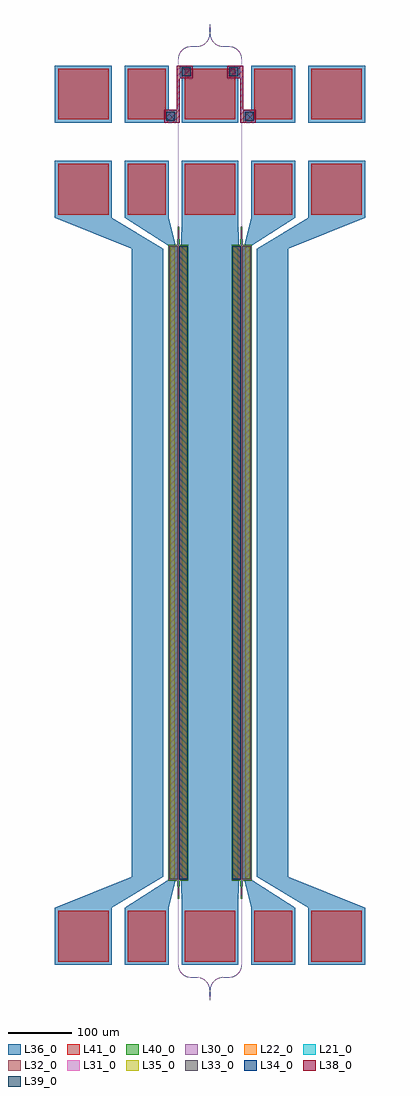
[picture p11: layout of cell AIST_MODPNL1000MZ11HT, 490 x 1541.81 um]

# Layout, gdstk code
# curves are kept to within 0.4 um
import gdstk
lib = gdstk.Library(unit=1e-6, precision=1e-09)
def R(c, l, rs):  # rectangles x0, y0, x1, y1
    for r in rs: c.add(gdstk.rectangle(r[:2], r[2:], *l))
def A(c, l, x, y, w, h, nx, ny, dx, dy):  # array of equal rectangles
    R(c, l, [(x+i*dx, y+j*dy, x+i*dx+w, y+j*dy+h) for i in range(nx) for j in range(ny)])
def P(c, l, *ps):  # polygons
    for p in ps: c.add(gdstk.Polygon(p, *l))
L21_0 = (21, 0)
L22_0 = (22, 0)
L30_0 = (30, 0)
L31_0 = (31, 0)
L32_0 = (32, 0)
L33_0 = (33, 0)
L34_0 = (34, 0)
L35_0 = (35, 0)
L36_0 = (36, 0)
L38_0 = (38, 0)
L39_0 = (39, 0)
L40_0 = (40, 0)
L41_0 = (41, 0)

aist_modpnl1000mz11ht = lib.new_cell('AIST_MODPNL1000MZ11HT')
R(aist_modpnl1000mz11ht, L21_0, [(-64.5,229.15,-49.85,1229.65), (49.85,229.15,64.5,1229.65)])
R(aist_modpnl1000mz11ht, L22_0, [(-50.15,228.9,-35.5,1229.9), (35.5,228.9,50.15,1229.9)])
R(aist_modpnl1000mz11ht, L30_0, [(-30,74.18,-20.55,74.62), (20.55,74.18,30,74.62), (-30,1544.58,-20.55,1545.02), (20.55,1544.58,30,1545.02)])
P(aist_modpnl1000mz11ht, L30_0, [(-50.22,94.4),(-50.22,198.4),(-51,228.4),(-65,228.4),(-65,1230.4),(-51,1230.4),(-50.22,1260.4),(-50.22,1524.8),(-49.78,1524.8),(-49.78,1260.4),(-49,1230.4),(-35,1230.4),(-35,228.4),(-49,228.4),(-49.695,208.4),(-49.78,94.4)],
  [(49.78,94.4),(49.78,198.4),(49,228.4),(35,228.4),(35,1230.4),(49,1230.4),(49.78,1260.4),(49.78,1524.8),(50.22,1524.8),(50.22,1260.4),(51,1230.4),(65,1230.4),(65,228.4),(51,228.4),(50.305,208.4),(50.22,94.4)],
  [(-30.08,74.18),(-32.156,74.295),(-34.131,74.606),(-36.142,75.135),(-37.941,75.804),(-39.668,76.641),(-41.375,77.683),(-42.97,78.888),(-44.382,80.187),(-45.716,81.677),(-46.895,83.291),(-47.91,85.014),(-48.719,86.755),(-49.336,88.487),(-49.826,90.426),(-50.129,92.483),(-50.22,94.4),(-49.78,94.4),(-49.671,92.322),(-49.36,90.345),(-48.827,88.333),(-48.053,86.316),(-47.223,84.672),(-46.244,83.113),(-45.226,81.774),(-43.987,80.413),(-42.626,79.174),(-41.287,78.156),(-39.728,77.177),(-38.084,76.347),(-36.067,75.573),(-34.054,75.04),(-32.078,74.729),(-30,74.62),(-30,74.18)],
  [(30,74.18),(30,74.62),(32.078,74.729),(34.054,75.04),(36.067,75.573),(38.084,76.347),(39.728,77.177),(41.287,78.156),(42.626,79.174),(43.987,80.413),(45.226,81.774),(46.244,83.113),(47.223,84.672),(48.053,86.316),(48.827,88.333),(49.36,90.345),(49.671,92.322),(49.78,94.4),(50.22,94.4),(50.129,92.483),(49.826,90.426),(49.336,88.487),(48.719,86.755),(47.91,85.014),(46.895,83.291),(45.716,81.677),(44.382,80.187),(42.847,78.786),(41.242,77.593),(39.598,76.603),(37.793,75.742),(35.989,75.087),(33.974,74.574),(31.917,74.271)],
  [(-0.22,38.696),(-0.455,44.472),(-1.105,44.472),(-1.105,48.624),(-1.005,48.624),(-0.77,54.4),(-0.33,54.4),(-0.095,48.624),(0.095,48.624),(0.33,54.4),(0.77,54.4),(1.005,48.624),(1.105,48.624),(1.105,44.472),(0.455,44.472),(0.22,38.696)],
  [(0.33,54.4),(0.421,56.317),(0.724,58.374),(1.214,60.313),(1.831,62.045),(2.64,63.786),(3.655,65.509),(4.834,67.123),(6.168,68.613),(7.703,70.014),(9.308,71.207),(10.952,72.197),(12.757,73.058),(14.561,73.713),(16.576,74.226),(18.633,74.529),(20.55,74.62),(20.55,74.18),(18.472,74.071),(16.495,73.76),(14.483,73.227),(12.466,72.453),(10.822,71.623),(9.263,70.644),(7.924,69.626),(6.563,68.387),(5.324,67.026),(4.306,65.687),(3.327,64.128),(2.497,62.484),(1.723,60.467),(1.19,58.454),(0.879,56.478),(0.77,54.4)],
  [(-0.77,54.4),(-0.863,56.319),(-1.142,58.22),(-1.604,60.084),(-2.245,61.895),(-3.021,63.565),(-3.949,65.155),(-5.071,66.715),(-6.395,68.216),(-7.74,69.472),(-9.197,70.598),(-10.822,71.623),(-12.393,72.42),(-14.483,73.227),(-16.495,73.76),(-18.472,74.071),(-20.55,74.18),(-20.55,74.62),(-18.394,74.505),(-16.497,74.21),(-14.561,73.713),(-12.609,72.996),(-10.742,72.082),(-9.043,71.027),(-7.519,69.861),(-6.112,68.556),(-4.784,67.061),(-3.567,65.375),(-2.53,63.573),(-1.655,61.599),(-0.935,59.311),(-0.472,56.794),(-0.33,54.4)],
  [(49.78,1524.8),(49.687,1526.719),(49.408,1528.62),(48.946,1530.484),(48.305,1532.295),(47.529,1533.965),(46.601,1535.555),(45.479,1537.115),(44.155,1538.616),(42.81,1539.872),(41.353,1540.998),(39.728,1542.023),(38.157,1542.82),(36.295,1543.552),(34.212,1544.126),(32.078,1544.471),(30,1544.58),(30,1545.02),(32.156,1544.905),(34.053,1544.61),(35.989,1544.113),(37.941,1543.396),(39.808,1542.482),(41.507,1541.427),(43.031,1540.261),(44.438,1538.956),(45.766,1537.461),(46.983,1535.775),(48.02,1533.973),(48.895,1531.999),(49.615,1529.711),(50.078,1527.194),(50.22,1524.8)],
  [(-50.22,1524.8),(-50.129,1526.717),(-49.826,1528.774),(-49.336,1530.713),(-48.719,1532.445),(-47.91,1534.186),(-46.895,1535.909),(-45.716,1537.523),(-44.382,1539.013),(-42.847,1540.414),(-41.242,1541.607),(-39.598,1542.597),(-37.793,1543.458),(-35.989,1544.113),(-33.974,1544.626),(-31.917,1544.929),(-30,1545.02),(-30,1544.58),(-32.078,1544.471),(-34.054,1544.16),(-36.067,1543.627),(-38.084,1542.853),(-39.728,1542.023),(-41.287,1541.044),(-42.626,1540.026),(-43.987,1538.787),(-45.226,1537.426),(-46.244,1536.087),(-47.223,1534.528),(-48.053,1532.884),(-48.827,1530.867),(-49.36,1528.855),(-49.671,1526.878),(-49.78,1524.8)],
  [(-0.77,1564.8),(-1.005,1570.576),(-1.105,1570.576),(-1.105,1574.728),(-0.455,1574.728),(-0.22,1580.504),(0.22,1580.504),(0.455,1574.728),(1.105,1574.728),(1.105,1570.576),(1.005,1570.576),(0.77,1564.8),(0.33,1564.8),(0.095,1570.576),(-0.095,1570.576),(-0.33,1564.8)],
  [(-20.55,1544.58),(-20.55,1545.02),(-18.472,1545.129),(-16.495,1545.44),(-14.483,1545.973),(-12.466,1546.747),(-10.822,1547.577),(-9.263,1548.556),(-7.924,1549.574),(-6.563,1550.813),(-5.324,1552.174),(-4.306,1553.513),(-3.327,1555.072),(-2.497,1556.716),(-1.723,1558.733),(-1.19,1560.746),(-0.879,1562.722),(-0.77,1564.8),(-0.33,1564.8),(-0.421,1562.883),(-0.724,1560.826),(-1.214,1558.887),(-1.831,1557.155),(-2.64,1555.414),(-3.655,1553.691),(-4.834,1552.077),(-6.168,1550.587),(-7.703,1549.186),(-9.308,1547.993),(-10.952,1547.003),(-12.757,1546.142),(-14.561,1545.487),(-16.576,1544.974),(-18.633,1544.671)],
  [(20.47,1544.58),(18.394,1544.695),(16.419,1545.006),(14.408,1545.535),(12.609,1546.204),(10.882,1547.041),(9.175,1548.083),(7.58,1549.288),(6.168,1550.587),(4.834,1552.077),(3.655,1553.691),(2.64,1555.414),(1.831,1557.155),(1.214,1558.887),(0.724,1560.826),(0.421,1562.883),(0.33,1564.8),(0.77,1564.8),(0.879,1562.722),(1.19,1560.746),(1.723,1558.733),(2.497,1556.716),(3.327,1555.072),(4.306,1553.513),(5.324,1552.174),(6.563,1550.813),(7.924,1549.574),(9.263,1548.556),(10.822,1547.577),(12.466,1546.747),(14.483,1545.973),(16.495,1545.44),(18.472,1545.129),(20.55,1545.02),(20.55,1544.58)])
R(aist_modpnl1000mz11ht, L31_0, [(-64.5,228.9,-50,1229.9), (50,228.9,64.5,1229.9)])
R(aist_modpnl1000mz11ht, L32_0, [(-50,228.9,-35.5,1229.9), (35.5,228.9,50,1229.9)])
R(aist_modpnl1000mz11ht, L33_0, [(-64.5,229.4,-51.15,1229.4), (51.15,229.4,64.5,1229.4)])
R(aist_modpnl1000mz11ht, L34_0, [(-48.85,229.4,-35.5,1229.4), (35.5,229.4,48.85,1229.4)])
R(aist_modpnl1000mz11ht, L35_0, [(-63,230.4,-56,1228.4), (-44,230.4,-37,1228.4), (37,230.4,44,1228.4), (56,230.4,63,1228.4)])
A(aist_modpnl1000mz11ht, L36_0, -245, 94.4, 90, 90, 3, 2, 200, 1180)
A(aist_modpnl1000mz11ht, L36_0, -245, 1424.8, 90, 90, 3, 1, 200, 0)
R(aist_modpnl1000mz11ht, L36_0, [(-245,94.4,-155,184.4), (-135,94.4,-65,184.4), (65,94.4,135,184.4), (155,94.4,245,184.4), (-64.5,229.4,-54.5,1229.4), (-45.5,229.4,45.5,1229.4), (54.5,229.4,64.5,1229.4), (-123.5,233.4,-73.5,1225.4), (73.5,233.4,123.5,1225.4), (-135,1274.4,-65,1364.4), (65,1274.4,135,1364.4), (155,1274.4,245,1364.4), (-135,1424.8,-65,1514.8), (-72.5,1424.8,-52.5,1444.8), (-72.5,1424.8,-52.5,1444.8), (52.5,1424.8,72.5,1444.8), (52.5,1424.8,72.5,1444.8), (65,1424.8,135,1514.8), (155,1424.8,245,1514.8), (-47.5,1494.8,-27.5,1514.8), (-47.5,1494.8,-27.5,1514.8), (27.5,1494.8,47.5,1514.8), (27.5,1494.8,47.5,1514.8)])
P(aist_modpnl1000mz11ht, L36_0, [(-245,184.4),(-123.5,233.4),(-73.5,233.4),(-155,184.4)],
  [(-135,184.4),(-64.5,229.4),(-54.5,229.4),(-65,184.4)],
  [(-45,184.4),(-45.5,229.4),(45.5,229.4),(45,184.4)],
  [(65,184.4),(54.5,229.4),(64.5,229.4),(135,184.4)],
  [(155,184.4),(73.5,233.4),(123.5,233.4),(245,184.4)],
  [(-123.5,1225.4),(-245,1274.4),(-155,1274.4),(-73.5,1225.4)],
  [(-64.5,1229.4),(-135,1274.4),(-65,1274.4),(-54.5,1229.4)],
  [(-45.5,1229.4),(-45,1274.4),(45,1274.4),(45.5,1229.4)],
  [(54.5,1229.4),(65,1274.4),(135,1274.4),(64.5,1229.4)],
  [(73.5,1225.4),(155,1274.4),(245,1274.4),(123.5,1225.4)])
R(aist_modpnl1000mz11ht, L38_0, [(-72.5,1424.8,-52.5,1444.8), (-52.5,1424.8,-47.5,1514.8), (47.5,1424.8,52.5,1514.8), (52.5,1424.8,72.5,1444.8), (-47.5,1494.8,-27.5,1514.8), (27.5,1494.8,47.5,1514.8)])
R(aist_modpnl1000mz11ht, L39_0, [(-69.5,1427.8,-55.5,1441.8), (55.5,1427.8,69.5,1441.8), (-44.5,1497.8,-30.5,1511.8), (30.5,1497.8,44.5,1511.8)])
P(aist_modpnl1000mz11ht, L40_0, [(48.78,198.4),(48.695,208.4),(48,227.4),(34,227.4),(34,1231.4),(48,1231.4),(48.695,1250.4),(48.78,1260.4),(49.695,1260.4),(49.695,198.4)],
  [(50.305,198.4),(50.305,1260.4),(51.22,1260.4),(51.305,1250.4),(52,1231.4),(66,1231.4),(66,227.4),(52,227.4),(51.305,208.4),(51.22,198.4)],
  [(-51.22,198.4),(-51.305,208.4),(-52,227.4),(-66,227.4),(-66,1231.4),(-52,1231.4),(-51.305,1250.4),(-51.22,1260.4),(-50.305,1260.4),(-50.305,198.4)],
  [(-49.695,198.4),(-49.695,1260.4),(-48.78,1260.4),(-48.695,1250.4),(-48,1231.4),(-34,1231.4),(-34,227.4),(-48,227.4),(-48.695,208.4),(-48.78,198.4)])
A(aist_modpnl1000mz11ht, L41_0, -240, 99.4, 80, 80, 3, 2, 200, 1180)
A(aist_modpnl1000mz11ht, L41_0, -240, 1429.8, 80, 80, 3, 1, 200, 0)
R(aist_modpnl1000mz11ht, L41_0, [(-240,99.4,-160,179.4), (-130,99.4,-70,179.4), (70,99.4,130,179.4), (160,99.4,240,179.4), (-130,1279.4,-70,1359.4), (70,1279.4,130,1359.4), (160,1279.4,240,1359.4), (-130,1429.8,-70,1509.8), (70,1429.8,130,1509.8), (160,1429.8,240,1509.8)])

lib.write_gds('AIST_MODPNL1000MZ11HT.gds')
